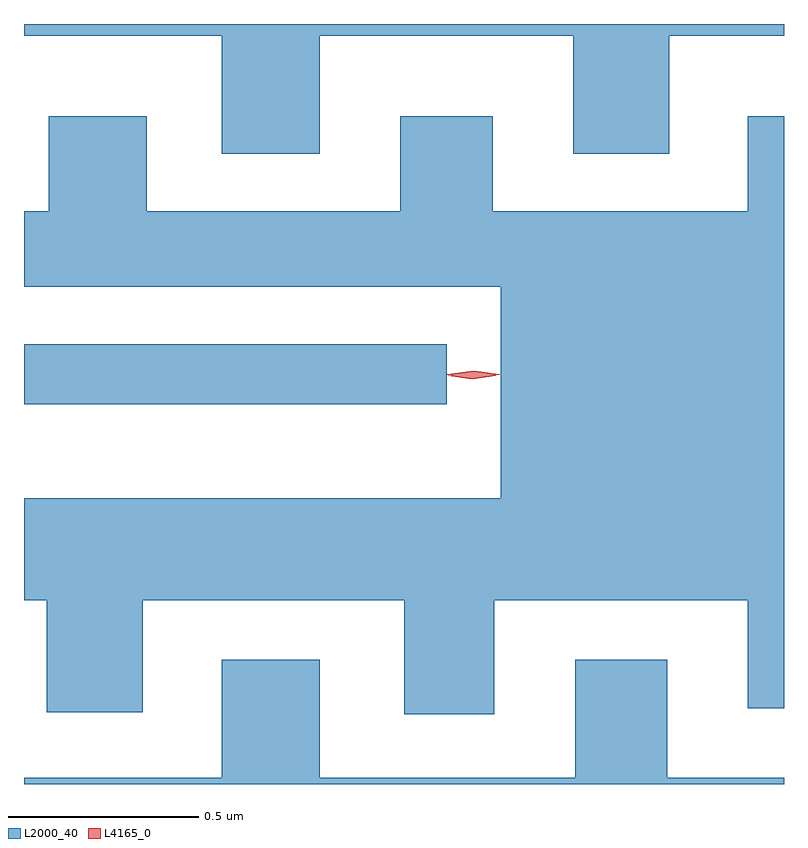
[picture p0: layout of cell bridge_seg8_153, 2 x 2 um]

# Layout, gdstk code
import gdstk
lib = gdstk.Library(unit=1e-6, precision=1e-09)
def R(c, l, rs):  # rectangles x0, y0, x1, y1
    for r in rs: c.add(gdstk.rectangle(r[:2], r[2:], *l))
def P(c, l, *ps):  # polygons
    for p in ps: c.add(gdstk.Polygon(p, *l))
L2000_40 = (2000, 40)
L4165_0 = (4165, 0)

bridge_seg8_153 = lib.new_cell('bridge_seg8_153')
R(bridge_seg8_153, L2000_40, [(1782.446,1857.646,1783.558,1857.804)])
P(bridge_seg8_153, L2000_40, [(1783.224,1858.616),(1783.891,1858.616),(1783.891,1858.306),(1784.144,1858.306),(1784.144,1858.616),(1784.446,1858.616),(1784.446,1858.647),(1782.446,1858.647),(1782.446,1858.616),(1782.966,1858.616),(1782.966,1858.306),(1783.224,1858.306)],
  [(1783.684,1857.131),(1784.351,1857.131),(1784.351,1856.846),(1784.446,1856.846),(1784.446,1858.404),(1784.351,1858.404),(1784.351,1858.154),(1783.679,1858.154),(1783.679,1858.404),(1783.436,1858.404),(1783.436,1858.154),(1782.769,1858.154),(1782.769,1858.404),(1782.511,1858.404),(1782.511,1858.154),(1782.446,1858.154),(1782.446,1857.956),(1783.701,1857.956),(1783.701,1857.399),(1782.446,1857.399),(1782.446,1857.131),(1782.506,1857.131),(1782.506,1856.836),(1782.759,1856.836),(1782.759,1857.131),(1783.446,1857.131),(1783.446,1856.831),(1783.684,1856.831)],
  [(1784.446,1856.664),(1784.139,1856.664),(1784.139,1856.974),(1783.896,1856.974),(1783.896,1856.664),(1783.224,1856.664),(1783.224,1856.974),(1782.966,1856.974),(1782.966,1856.664),(1782.446,1856.664),(1782.446,1856.647),(1784.446,1856.647)])
P(bridge_seg8_153, L4165_0, [(1783.625,1857.712),(1783.563,1857.721),(1783.563,1857.722),(1783.563,1857.722),(1783.625,1857.732),(1783.687,1857.722),(1783.687,1857.722),(1783.687,1857.721)],
  [(1783.629,1857.715),(1783.56,1857.724),(1783.559,1857.725),(1783.56,1857.725),(1783.629,1857.735),(1783.697,1857.725),(1783.698,1857.725),(1783.697,1857.724)])

lib.write_gds('bridge_seg8_153.gds')
